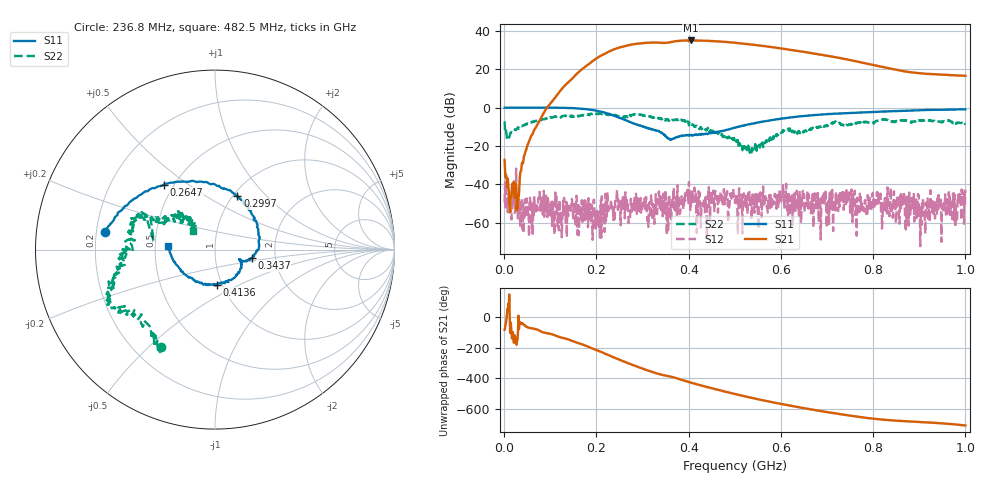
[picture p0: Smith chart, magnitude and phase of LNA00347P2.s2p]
! Created with skrf 1.9.0 (http://scikit-rf.org).
# Hz S RI R 50.0
!freq ReS11 ImS11 ReS21 ImS21 ReS12 ImS12 ReS22 ImS22
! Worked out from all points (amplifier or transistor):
!   1001 points, 1 MHz to 1 GHz, reference 50 ohm
!   highest |S21| = 35.0 dB at 404.6 MHz (marker M1)
!   |S21| within 3 dB of that: 260.5 MHz to 565.6 MHz (305.2 MHz wide, 73.9 % of centre)
!   unconditionally stable (mu >= 1): 3.706 MHz to 67.83 MHz; 220 MHz to 375.5 MHz; 375.8 MHz to end of sweep (the widest 3 of 29)
!   at 166.8 MHz: K = 3.10, MAG = 31.4 dB, |S12| = -58.9 dB
!   at 500.5 MHz: K = 2.83, MAG = 34.4 dB, |S12| = -49.7 dB
!   at 1 GHz: K = 1.94, MAG = 24.2 dB, |S12| = -42.9 dB
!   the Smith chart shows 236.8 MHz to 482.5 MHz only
!   S11 on the Smith chart (normalised r, x): 236.8 MHz: 0.23, +0.07; 264.7 MHz: 0.44, +0.41; 299.7 MHz: 1.05, +0.69; 343.7 MHz: 1.50, -0.14; 413.6 MHz: 0.95, -0.39; 482.5 MHz: 0.59, +0.02
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1000000  0.991 0.0113  0.00442 -0.0428  -0.00263 0.00211  0.3107 0.3083
1.07893e8  0.5205 -0.8502  -0.7657 -1.475  0.00181 0.000888  0.4268 -0.3832
1.67833e8  -0.2605 -0.8923  -9.797 -0.4292  -0.000877 -0.00362  0.0297 -0.6316
2.07793e8  -0.6848 -0.3924  -15.43 15.41  0.000292 -0.000202  -0.2142 -0.6564
2.36764e8  -0.6139 0.0962  -4.342 32.15  -0.000375 -0.0011  -0.2986 -0.5453
2.64736e8  -0.286 0.3625  18.45 36.71  -0.00231 5.01e-05  -0.4455 -0.363
2.99701e8  0.1246 0.2966  43.97 19.08  0.00188 0.00194  -0.5875 -0.2443
3.34666e8  0.2465 0.0195  48.47 -9.926  -0.00551 0.00177  -0.5297 -0.0435
3.43657e8  0.2039 -0.0458  46.28 -15.53  -0.000177 0.00145  -0.5162 -0.0124
3.72628e8  0.149 -0.0754  42.29 -33.87  -0.00149 0.00359  -0.4674 0.1427
4.04596e8  0.053 -0.1817  20.99 -52.25  0.00439 0.00332  -0.3302 0.1626
4.13587e8  0.0108 -0.1962  13.97 -54.26  0.00092 0.00642  -0.2754 0.1736
4.45555e8  -0.1498 -0.1517  -10.84 -53.41  0.0013 0.00172  -0.1598 0.1666
4.82518e8  -0.2606 0.0187  -32.58 -39.36  0.0058 -0.00145  -0.1214 0.1059
5.005e8  -0.273 0.1163  -39.22 -29.65  -0.00328 0.000225  -0.1221 0.1037
5.39461e8  -0.201 0.3256  -42.88 -7.82  0.00182 -0.00255  -0.0753 -0.0157
5.85415e8  -0.00154 0.4831  -35.1 11.89  0.000591 -0.00312  -0.1679 -0.0669
6.25375e8  0.1952 0.5279  -23.43 20.83  -0.000561 0.000657  -0.2168 -0.1241
6.67333e8  0.395 0.4866  -11.27 23.44  -0.00226 -0.00109  -0.2851 -0.0293
7.46254e8  0.648 0.3031  3.642 17.24  -0.00347 -0.00299  -0.3416 0.065
8.34166e8  0.7954 0.028  7.223 7.772  -0.00201 -9.79e-05  -0.4242 0.1873
1e9  0.73 -0.5247  6.596 1.437  -0.00713 -0.000234  -0.0838 0.3675
